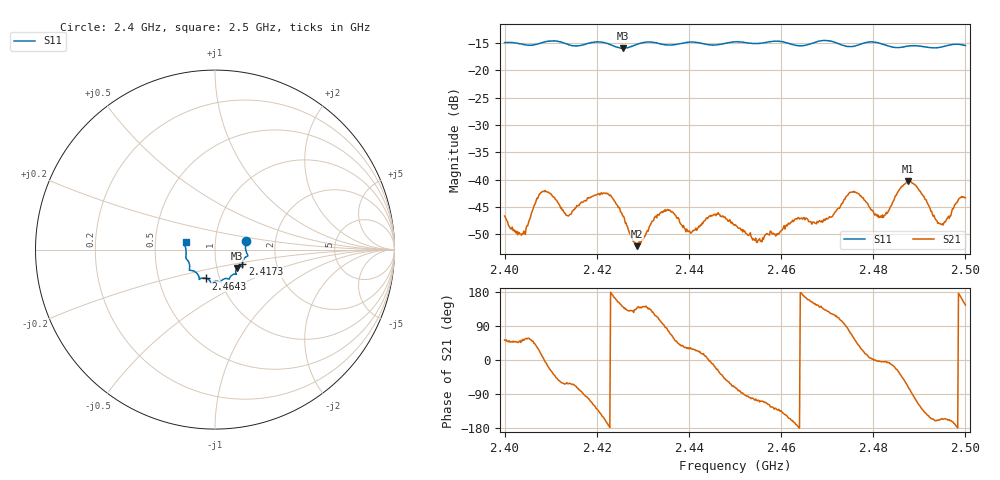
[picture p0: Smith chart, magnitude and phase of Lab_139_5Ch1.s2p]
# Hz S RI R 50
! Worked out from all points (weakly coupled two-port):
!   601 points, 2.4 GHz to 2.5 GHz, reference 50 ohm
!   highest |S21| = -40.29 dB at 2.4875 GHz (marker M1); lowest = -52.2 dB at 2.4287 GHz (marker M2)
!   lowest |S11| = -15.9 dB at 2.4257 GHz (marker M3), VSWR 1.38, Z = 62.4 - j13.1 ohm
!   |S11| at or under -10 dB: start of sweep to end of sweep
!   S12 and S22 are empty: the file has one direction only
!   S11 on the Smith chart (normalised r, x): 2.4 GHz: 1.41, +0.14; 2.4173 GHz: 1.34, -0.23; 2.4643 GHz: 0.86, -0.28; 2.5 GHz: 0.72, +0.06
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2.4e9  0.1729 0.0495  0.00282 0.00371  0 0  0 0
2.404e9  0.1712 0.0252  0.00186 0.0026  0 0  0 0
2.408333e9  0.1795 -0.0236  0.00775 0.000907  0 0  0 0
2.4135e9  0.1693 -0.0431  0.00237 -0.00408  0 0  0 0
2.416667e9  0.1529 -0.0745  0.000783 -0.0062  0 0  0 0
2.417333e9  0.1524 -0.0821  -0.000278 -0.00642  0 0  0 0
2.4225e9  0.1486 -0.0936  -0.00729 -0.00106  0 0  0 0
2.425667e9  0.1226 -0.1024  -0.00357 0.00297  0 0  0 0
2.428667e9  0.1156 -0.1289  -0.00179 0.00169  0 0  0 0
2.433333e9  0.1128 -0.1366  -0.00175 0.00446  0 0  0 0
2.440167e9  0.0799 -0.1637  0.00295 0.00167  0 0  0 0
2.445833e9  0.0485 -0.1643  0.00437 -0.0017  0 0  0 0
2.45e9  0.0296 -0.1807  0.0012 -0.0037  0 0  0 0
2.455333e9  -0.00112 -0.1771  -0.00102 -0.0027  0 0  0 0
2.464333e9  -0.0503 -0.1605  -0.00445 0.000186  0 0  0 0
2.466667e9  -0.0763 -0.1597  -0.00352 0.00173  0 0  0 0
2.475333e9  -0.1097 -0.1239  0.0031 0.00704  0 0  0 0
2.480833e9  -0.1426 -0.1105  0.00464 -0.000222  0 0  0 0
2.483333e9  -0.1411 -0.0896  0.00519 -0.000644  0 0  0 0
2.4875e9  -0.1584 -0.0533  0.00348 -0.00903  0 0  0 0
2.494667e9  -0.1632 0.00627  -0.0036 -0.00156  0 0  0 0
2.5e9  -0.164 0.0421  -0.00562 0.00393  0 0  0 0
